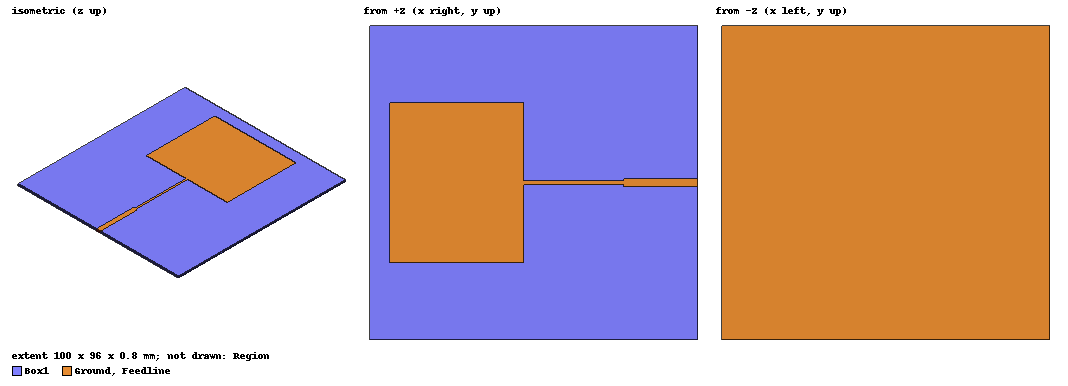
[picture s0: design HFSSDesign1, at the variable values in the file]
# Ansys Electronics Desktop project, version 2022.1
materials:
  vacuum: permittivity=1
  Rogers RT/duroid 5880 (tm): permittivity=2.2 dielectric_loss_tangent=0.0009

design HFSSDesign1 (HFSS, DrivenModal, model units mm)
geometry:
  Ground = rectangle(corner=(0mm, 0mm, 0mm), x_size=100mm, y_size=96mm)
  Box1 [Rogers RT/duroid 5880 (tm)] = box(corner=(0mm, 0mm, 0mm), size=(100mm, 96mm, 0.8mm))
  Feedline = rectangle(corner=(77.5mm, 46.75mm, 0.8mm), x_size=22.5mm, y_size=2.5mm)
  Transformer = rectangle(corner=(47mm, 47.5mm, 0.8mm), x_size=30.5mm, y_size=1mm)
  Patch = rectangle(corner=(6mm, 23.75mm, 0.8mm), x_size=41mm, y_size=48.5mm)
  Rectangle5 = rectangle(corner=(100mm, 46.75mm, 0.8mm), y_size=2.5mm, z_size=-0.8mm)
  Feedline.unite(Transformer, Patch)
  Region [vacuum] = region(absolute_offset=50mm on all sides)
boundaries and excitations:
  PerfE1: Perfect E Objects=Ground
  PerfE2: Perfect E Objects=Feedline
  Rad1: Radiation Objects=Region
  1: Lumped Port Objects=Rectangle5 Modes{Mode1{IntLine{(100, 48, 0) -> (100, 48, 0.8)} CharImp=Zpi RenormImp=50ohm}} Impedance=50ohm
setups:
  Setup1: HfssDriven Frequency=2.45GHz MaxDeltaS=0.02 MaximumPasses=6 MinimumPasses=1 MinimumConvergedPasses=1 PercentRefinement=30 BasisOrder=1 PortAccuracy=2 DrivenSolverType="Direct Solver"
    sweep Sweep: 1.225GHz to 3.675GHz, 401 points; Type=Fast SaveFields
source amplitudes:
  1:1: 1W 0deg
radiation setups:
  Infinite Sphere1: Infinite Sphere Theta=-180deg..180deg step 10deg Phi=0deg..90deg step 90deg
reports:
  S Parameter Plot 1: mag(S(1,1)) vs Freq on Setup1 : Sweep; markers m1 at 2.321375GHz
  VSWR Plot 1: VSWR(1) vs Freq on Setup1 : Sweep; markers m1 at 2.3275GHz
  rE Plot 1: rETotal vs Theta on Setup1 : Sweep, Infinite Sphere1 [Phi=0deg,90deg Freq=2.3275GHz]
